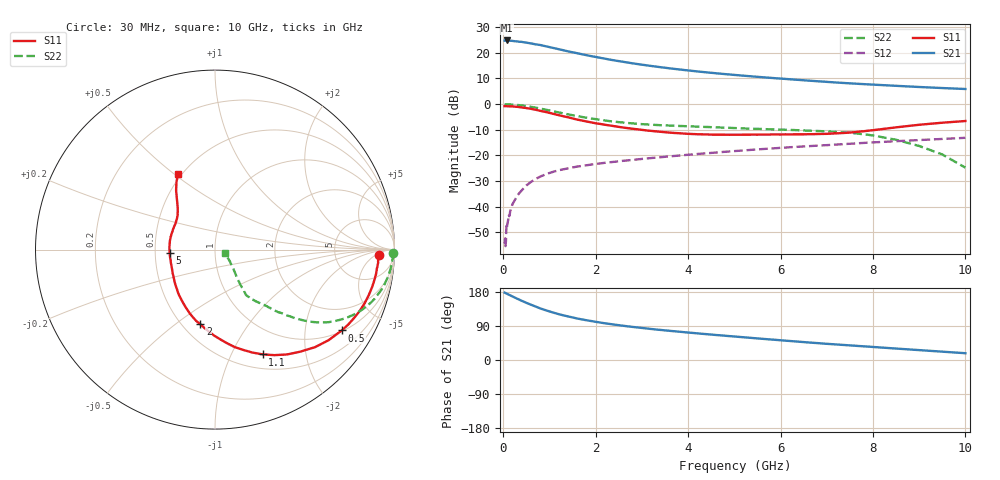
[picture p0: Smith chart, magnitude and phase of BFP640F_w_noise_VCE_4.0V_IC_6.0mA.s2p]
! Infineon Technologies  Discrete & RF Semiconductors
! BFP640F
! VCE =  4.0 V,  IC =  6.0 mA
! Common Emitter S-Parameters:  Apr 2013
# GHz  S  MA  R  50
!  f  S11  S21  S12  S22
! GHz  MAG  ANG  MAG  ANG  MAG  ANG  MAG  ANG
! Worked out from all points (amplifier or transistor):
!   99 points, 30 MHz to 10 GHz, reference 50 ohm
!   highest |S21| = 24.8 dB at 80 MHz (marker M1)
!   |S21| within 3 dB of that: start of sweep to 1.102 GHz
!   unconditionally stable (mu >= 1): 3.824 GHz to end of sweep
!   at 350 MHz: K = 0.12, MSG = 29.5 dB, |S12| = -34.7 dB
!   at 3.5 GHz: K = 0.97, MSG = 17.4 dB, |S12| = -20.5 dB
!   at 10 GHz: K = 1.10, MAG = 7.6 dB, |S12| = -13.1 dB
!   lowest NFmin = 0.54 dB at 450 MHz
!   S11 on the Smith chart (normalised r, x): 30 MHz: 20, -7; 500 MHz: 1.03, -3.12; 1.1 GHz: 0.67, -1.33; 2 GHz: 0.61, -0.62; 5 GHz: 0.60, -0.02; 10 GHz: 0.48, +0.51
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0.03  0.9143 -1.9  17.26 177.8  0.0019 69.6  0.991 -1.1
0.05  0.9123 -3.5  17.42 176.8  0.0017 58.4  0.9898 -1.9
0.07  0.912 -4.7  17.35 175.4  0.0044 80.3  0.9924 -2.7
0.08  0.9102 -5.3  17.44 174.8  0.0039 78.2  0.9906 -3.0
0.2  0.9 -13.4  17.1 167.7  0.0112 81.9  0.9792 -7.9
0.3  0.8855 -19.8  16.71 161.9  0.0162 79.1  0.9637 -11.7
0.4  0.8626 -26.4  16.37 156.2  0.0208 75.7  0.9412 -15.4
0.5  0.838 -32.5  15.81 150.9  0.0259 73.7  0.9163 -18.9
0.6  0.8094 -38.6  15.25 145.9  0.0304 71.3  0.8857 -22.2
0.8  0.7399 -50.3  14.23 136.2  0.0387 66.4  0.821 -27.8
1.1  0.6418 -65.5  12.36 124.5  0.0485 60.5  0.7191 -34.4
1.4  0.5547 -78.5  10.7 115.1  0.0559 56.6  0.6327 -38.6
1.7  0.4795 -90.5  9.404 107.2  0.0623 53.8  0.5628 -41.5
2  0.4234 -101.2  8.321 100.8  0.0681 52.2  0.5104 -43.8
2.6  0.349 -120.0  6.674 90.3  0.0786 49.7  0.4371 -47.2
3.4  0.289 -141.0  5.255 79.4  0.092 48.1  0.3883 -50.0
4.2  0.2589 -159.5  4.341 70.3  0.1066 46.3  0.3645 -51.9
5  0.2533 -176.1  3.712 62.0  0.1214 44.3  0.3416 -53.5
5.1  0.253 -178.0  3.649 61.0  0.1232 44.1  0.3397 -53.7
6.7  0.2597 152.6  2.835 45.4  0.1532 38.7  0.3017 -55.6
8.5  0.3526 127.0  2.275 30.2  0.1894 31.7  0.2019 -52.1
10  0.4686 116.2  1.972 17.9  0.2204 24.8  0.0577 -18.8
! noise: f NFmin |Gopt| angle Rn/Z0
0.45  0.54  0.33  8  0.09
0.9  0.55  0.33  19  0.1
1.5  0.59  0.31  27  0.1
1.9  0.61  0.29  43  0.11
2.4  0.65  0.27  56  0.11
3.5  0.75  0.23  79  0.13
5.5  0.97  0.18  155  0.16
10  1.63  0.43  -103  0.34
